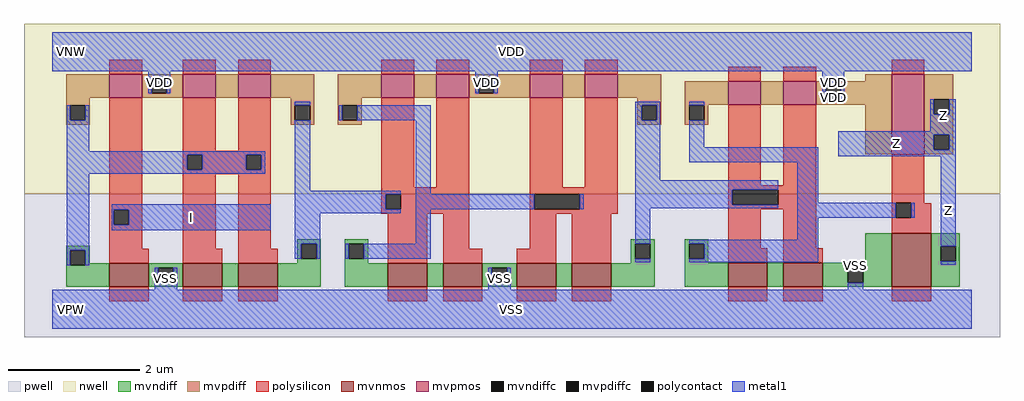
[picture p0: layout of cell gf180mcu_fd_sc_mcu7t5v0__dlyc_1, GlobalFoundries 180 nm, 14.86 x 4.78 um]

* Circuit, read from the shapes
.subckt gf180mcu_fd_sc_mcu7t5v0__dlyc_1 I Z VDD VNW VPW VSS
XM1 VSS I n1 VPW nfet_06v0 w=0.36u l=0.6u
XM2 n2 n1 VSS VPW nfet_06v0 w=0.36u l=0.6u
XM3 n3 n1 n2 VPW nfet_06v0 w=0.36u l=0.6u
XM4 n4 n3 n5 VPW nfet_06v0 w=0.36u l=0.6u
XM5 VSS n3 n4 VPW nfet_06v0 w=0.36u l=0.6u
XM6 n6 n5 VSS VPW nfet_06v0 w=0.36u l=0.6u
XM7 n7 n5 n6 VPW nfet_06v0 w=0.36u l=0.6u
XM8 n8 n7 n9 VPW nfet_06v0 w=0.365u l=0.6u
XM9 VSS n7 n8 VPW nfet_06v0 w=0.365u l=0.6u
XM10 Z n9 VSS VPW nfet_06v0 w=0.82u l=0.6u
XM11 VDD I n1 VNW pfet_06v0 w=0.36u l=0.5u
XM12 n10 n1 VDD VNW pfet_06v0 w=0.36u l=0.5u
XM13 n3 n1 n10 VNW pfet_06v0 w=0.36u l=0.5u
XM14 n11 n3 n5 VNW pfet_06v0 w=0.36u l=0.5u
XM15 VDD n3 n11 VNW pfet_06v0 w=0.36u l=0.5u
XM16 n12 n5 VDD VNW pfet_06v0 w=0.36u l=0.5u
XM17 n7 n5 n12 VNW pfet_06v0 w=0.36u l=0.5u
XM18 n13 n7 n9 VNW pfet_06v0 w=0.36u l=0.5u
XM19 VDD n7 n13 VNW pfet_06v0 w=0.36u l=0.5u
XM20 Z n9 VDD VNW pfet_06v0 w=1.22u l=0.5u
.ends

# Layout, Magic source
magic
tech gf180mcuD
magscale 1 10
<< nwell >>
rect -86 352 2886 870
<< pwell >>
rect -86 -86 2886 352
<< mvnmos >>
rect 174 68 294 140
rect 398 68 518 140
rect 566 68 686 140
rect 1022 68 1142 140
rect 1190 68 1310 140
rect 1414 68 1534 140
rect 1582 68 1702 140
rect 2058 68 2178 141
rect 2226 68 2346 141
rect 2556 68 2676 232
<< mvpmos >>
rect 174 644 274 716
rect 398 644 498 716
rect 566 644 666 716
rect 1002 644 1102 716
rect 1170 644 1270 716
rect 1454 644 1554 716
rect 1622 644 1722 716
rect 2058 622 2158 694
rect 2226 622 2326 694
rect 2556 472 2656 716
<< mvndiff >>
rect 42 180 114 193
rect 42 134 55 180
rect 101 140 114 180
rect 746 200 818 213
rect 746 154 759 200
rect 805 154 818 200
rect 746 140 818 154
rect 101 134 174 140
rect 42 68 174 134
rect 294 127 398 140
rect 294 81 323 127
rect 369 81 398 127
rect 294 68 398 81
rect 518 68 566 140
rect 686 68 818 140
rect 890 200 962 213
rect 890 154 903 200
rect 949 154 962 200
rect 890 140 962 154
rect 1762 200 1834 213
rect 1762 154 1775 200
rect 1821 154 1834 200
rect 1762 140 1834 154
rect 890 68 1022 140
rect 1142 68 1190 140
rect 1310 127 1414 140
rect 1310 81 1339 127
rect 1385 81 1414 127
rect 1310 68 1414 81
rect 1534 68 1582 140
rect 1702 68 1834 140
rect 1926 200 1998 213
rect 1926 154 1939 200
rect 1985 154 1998 200
rect 1926 141 1998 154
rect 2476 141 2556 232
rect 1926 68 2058 141
rect 2178 68 2226 141
rect 2346 127 2556 141
rect 2346 81 2423 127
rect 2469 81 2556 127
rect 2346 68 2556 81
rect 2676 192 2764 232
rect 2676 146 2705 192
rect 2751 146 2764 192
rect 2676 68 2764 146
<< mvpdiff >>
rect 42 644 174 716
rect 274 703 398 716
rect 274 657 303 703
rect 349 657 398 703
rect 274 644 398 657
rect 498 644 566 716
rect 666 644 798 716
rect 42 621 114 644
rect 42 575 55 621
rect 101 575 114 621
rect 42 562 114 575
rect 726 621 798 644
rect 726 575 739 621
rect 785 575 798 621
rect 726 562 798 575
rect 870 644 1002 716
rect 1102 644 1170 716
rect 1270 703 1454 716
rect 1270 657 1299 703
rect 1345 657 1454 703
rect 1270 644 1454 657
rect 1554 644 1622 716
rect 1722 644 1854 716
rect 2476 694 2556 716
rect 870 621 942 644
rect 870 575 883 621
rect 929 575 942 621
rect 870 562 942 575
rect 1782 621 1854 644
rect 1782 575 1795 621
rect 1841 575 1854 621
rect 1782 562 1854 575
rect 1926 622 2058 694
rect 2158 622 2226 694
rect 2326 681 2556 694
rect 2326 635 2355 681
rect 2401 635 2556 681
rect 2326 622 2556 635
rect 1926 621 1998 622
rect 1926 575 1939 621
rect 1985 575 1998 621
rect 1926 562 1998 575
rect 2476 472 2556 622
rect 2656 639 2744 716
rect 2656 593 2685 639
rect 2731 593 2744 639
rect 2656 531 2744 593
rect 2656 485 2685 531
rect 2731 485 2744 531
rect 2656 472 2744 485
<< mvndiffc >>
rect 55 134 101 180
rect 759 154 805 200
rect 323 81 369 127
rect 903 154 949 200
rect 1775 154 1821 200
rect 1339 81 1385 127
rect 1939 154 1985 200
rect 2423 81 2469 127
rect 2705 146 2751 192
<< mvpdiffc >>
rect 303 657 349 703
rect 55 575 101 621
rect 739 575 785 621
rect 1299 657 1345 703
rect 883 575 929 621
rect 1795 575 1841 621
rect 2355 635 2401 681
rect 1939 575 1985 621
rect 2685 593 2731 639
rect 2685 485 2731 531
<< polysilicon >>
rect 174 716 274 760
rect 398 716 498 760
rect 566 716 666 760
rect 1002 716 1102 760
rect 1170 716 1270 760
rect 1454 716 1554 760
rect 1622 716 1722 760
rect 174 303 274 644
rect 174 257 187 303
rect 233 257 274 303
rect 174 184 274 257
rect 398 483 498 644
rect 566 483 666 644
rect 2058 694 2158 738
rect 2226 694 2326 738
rect 2556 716 2656 760
rect 398 470 666 483
rect 398 424 411 470
rect 457 424 591 470
rect 637 424 666 470
rect 398 411 666 424
rect 398 184 498 411
rect 566 184 666 411
rect 1002 371 1102 644
rect 1170 371 1270 644
rect 1002 350 1270 371
rect 1002 304 1015 350
rect 1061 304 1270 350
rect 1002 290 1270 304
rect 174 140 294 184
rect 398 140 518 184
rect 566 140 686 184
rect 1022 140 1142 290
rect 1190 184 1270 290
rect 1454 371 1554 644
rect 1622 371 1722 644
rect 1454 350 1722 371
rect 1454 304 1467 350
rect 1607 304 1722 350
rect 1454 290 1722 304
rect 2058 377 2158 622
rect 2226 377 2326 622
rect 2058 364 2326 377
rect 2058 318 2071 364
rect 2211 318 2326 364
rect 2058 305 2326 318
rect 1454 184 1534 290
rect 1190 140 1310 184
rect 1414 140 1534 184
rect 1582 140 1702 290
rect 2058 185 2158 305
rect 2226 185 2326 305
rect 2556 325 2656 472
rect 2556 279 2569 325
rect 2615 323 2656 325
rect 2615 279 2676 323
rect 2556 232 2676 279
rect 2058 141 2178 185
rect 2226 141 2346 185
rect 174 24 294 68
rect 398 24 518 68
rect 566 24 686 68
rect 1022 24 1142 68
rect 1190 24 1310 68
rect 1414 24 1534 68
rect 1582 24 1702 68
rect 2058 24 2178 68
rect 2226 24 2346 68
rect 2556 24 2676 68
<< polycontact >>
rect 187 257 233 303
rect 411 424 457 470
rect 591 424 637 470
rect 1015 304 1061 350
rect 1467 304 1607 350
rect 2071 318 2211 364
rect 2569 279 2615 325
<< metal1 >>
rect 0 724 2800 844
rect 292 703 360 724
rect 292 657 303 703
rect 349 657 360 703
rect 1288 703 1356 724
rect 1288 657 1299 703
rect 1345 657 1356 703
rect 2344 681 2412 724
rect 2344 635 2355 681
rect 2401 635 2412 681
rect 739 621 785 632
rect 1775 621 1852 632
rect 44 575 55 621
rect 101 575 112 621
rect 44 481 112 575
rect 872 575 883 621
rect 929 575 1153 621
rect 44 470 648 481
rect 44 424 411 470
rect 457 424 591 470
rect 637 424 648 470
rect 44 413 648 424
rect 44 180 112 413
rect 739 361 785 575
rect 739 350 1061 361
rect 181 303 666 320
rect 181 257 187 303
rect 233 257 666 303
rect 181 240 666 257
rect 739 304 1015 350
rect 739 293 1061 304
rect 1107 350 1153 575
rect 1775 575 1795 621
rect 1841 575 1852 621
rect 1775 393 1852 575
rect 1939 621 1985 632
rect 1939 493 1985 575
rect 2674 593 2685 639
rect 2731 593 2751 639
rect 2674 542 2751 593
rect 2393 531 2751 542
rect 1939 447 2333 493
rect 2393 485 2685 531
rect 2731 485 2751 531
rect 2393 466 2751 485
rect 1775 364 2211 393
rect 1107 304 1467 350
rect 1607 304 1618 350
rect 1775 318 2071 364
rect 1775 307 2211 318
rect 2269 325 2333 447
rect 44 134 55 180
rect 101 134 112 180
rect 739 200 816 293
rect 1107 200 1153 304
rect 739 154 759 200
rect 805 154 816 200
rect 892 154 903 200
rect 949 154 1153 200
rect 1775 200 1821 307
rect 2269 279 2569 325
rect 2615 279 2626 325
rect 2269 211 2333 279
rect 1775 143 1821 154
rect 1939 200 2333 211
rect 1985 154 2333 200
rect 1939 143 2333 154
rect 2705 192 2751 466
rect 2423 127 2469 138
rect 2705 135 2751 146
rect 312 81 323 127
rect 369 81 380 127
rect 312 60 380 81
rect 1328 81 1339 127
rect 1385 81 1396 127
rect 1328 60 1396 81
rect 2423 60 2469 81
rect 0 -60 2800 60
<< labels >>
flabel metal1 s 2674 542 2751 639 0 FreeSans 400 0 0 0 Z
port 2 nsew default output
flabel metal1 s 2423 127 2469 138 0 FreeSans 400 0 0 0 VSS
port 6 nsew ground bidirectional abutment
flabel metal1 s 181 240 666 320 0 FreeSans 400 0 0 0 I
port 1 nsew default input
flabel metal1 s 0 724 2800 844 0 FreeSans 400 0 0 0 VDD
port 3 nsew power bidirectional abutment
flabel nwell s 10 734 110 834 0 FreeSans 400 0 0 0 VNW
port 4 nsew power bidirectional
flabel pwell s 10 -50 110 50 0 FreeSans 400 0 0 0 VPW
port 5 nsew ground bidirectional
rlabel metal1 s 2393 466 2751 542 1 Z
port 2 nsew default output
rlabel metal1 s 2705 135 2751 466 1 Z
port 2 nsew default output
rlabel metal1 s 2344 657 2412 724 1 VDD
port 3 nsew power bidirectional abutment
rlabel metal1 s 1288 657 1356 724 1 VDD
port 3 nsew power bidirectional abutment
rlabel metal1 s 292 657 360 724 1 VDD
port 3 nsew power bidirectional abutment
rlabel metal1 s 2344 635 2412 657 1 VDD
port 3 nsew power bidirectional abutment
rlabel metal1 s 2423 60 2469 127 1 VSS
port 6 nsew ground bidirectional abutment
rlabel metal1 s 1328 60 1396 127 1 VSS
port 6 nsew ground bidirectional abutment
rlabel metal1 s 312 60 380 127 1 VSS
port 6 nsew ground bidirectional abutment
rlabel metal1 s 0 -60 2800 60 1 VSS
port 6 nsew ground bidirectional abutment
<< properties >>
string FIXED_BBOX 0 0 2800 784
string GDS_END 1109544
string GDS_FILE $PDKPATH/libs.ref/gf180mcu_fd_sc_mcu7t5v0/gds/gf180mcu_fd_sc_mcu7t5v0.gds
string GDS_START 1104164
string LEFclass core
string LEFsite GF018hv5v_mcu_sc7
string LEFsymmetry X Y
<< end >>
